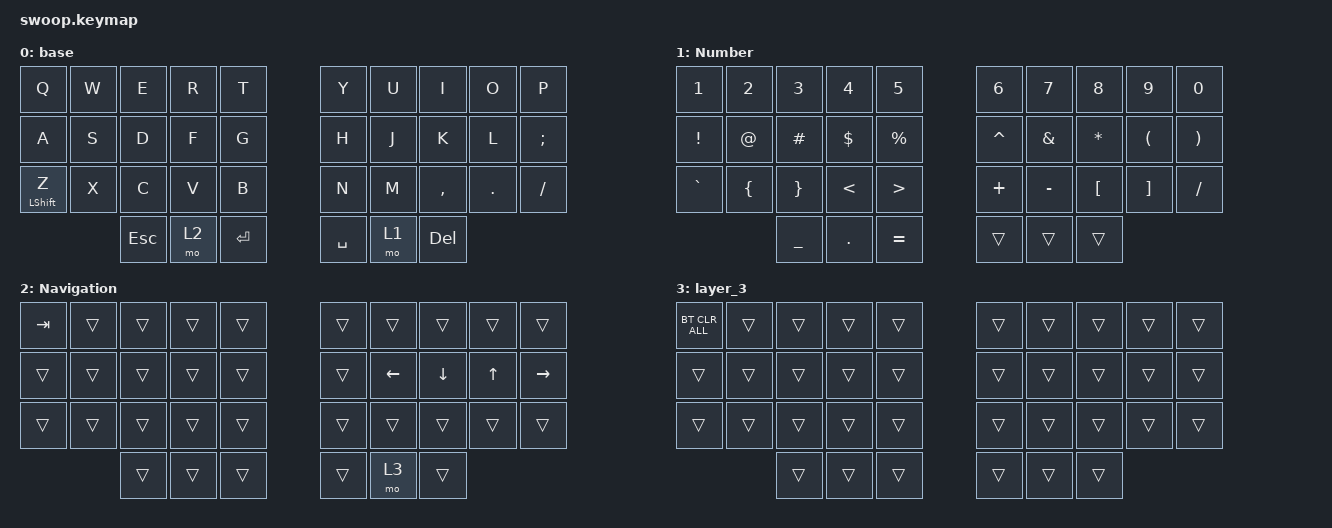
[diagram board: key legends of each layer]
#include <behaviors.dtsi>
#include <dt-bindings/zmk/bt.h>
#include <dt-bindings/zmk/keys.h>

/ {
    keymap {
        compatible = "zmk,keymap";

        base {
            bindings = <
&kp Q             &kp W  &kp E       &kp R  &kp T      &kp Y      &kp U  &kp I       &kp O    &kp P
&kp A             &kp S  &kp D       &kp F  &kp G      &kp H      &kp J  &kp K       &kp L    &kp SEMICOLON
&mt LEFT_SHIFT Z  &kp X  &kp C       &kp V  &kp B      &kp N      &kp M  &kp COMMA   &kp DOT  &kp FSLH
                         &kp ESCAPE  &mo 2  &kp RET    &kp SPACE  &mo 1  &kp DELETE
            >;
        };

        Number {
            bindings = <
&kp N1     &kp N2          &kp N3           &kp N4         &kp N5              &kp N6     &kp N7         &kp N8        &kp N9                &kp N0
&kp EXCL   &kp AT_SIGN     &kp POUND        &kp DOLLAR     &kp PERCENT         &kp CARET  &kp AMPERSAND  &kp ASTERISK  &kp LEFT_PARENTHESIS  &kp RIGHT_PARENTHESIS
&kp GRAVE  &kp LEFT_BRACE  &kp RIGHT_BRACE  &kp LESS_THAN  &kp GREATER_THAN    &kp PLUS   &kp MINUS      &kp LBKT      &kp RBKT              &kp FSLH
                           &kp UNDER        &kp DOT        &kp EQUAL           &trans     &trans         &trans
            >;
        };

        Navigation {
            bindings = <
&kp TAB  &trans  &trans  &trans  &trans    &trans  &trans    &trans    &trans  &trans
&trans   &trans  &trans  &trans  &trans    &trans  &kp LEFT  &kp DOWN  &kp UP  &kp RIGHT
&trans   &trans  &trans  &trans  &trans    &trans  &trans    &trans    &trans  &trans
                 &trans  &trans  &trans    &trans  &mo 3     &trans
            >;
        };

        layer_3 {
            bindings = <
&bt BT_CLR_ALL  &trans  &trans  &trans  &trans    &trans  &trans  &trans  &trans  &trans
&trans          &trans  &trans  &trans  &trans    &trans  &trans  &trans  &trans  &trans
&trans          &trans  &trans  &trans  &trans    &trans  &trans  &trans  &trans  &trans
                        &trans  &trans  &trans    &trans  &trans  &trans
            >;
        };
    };
};
